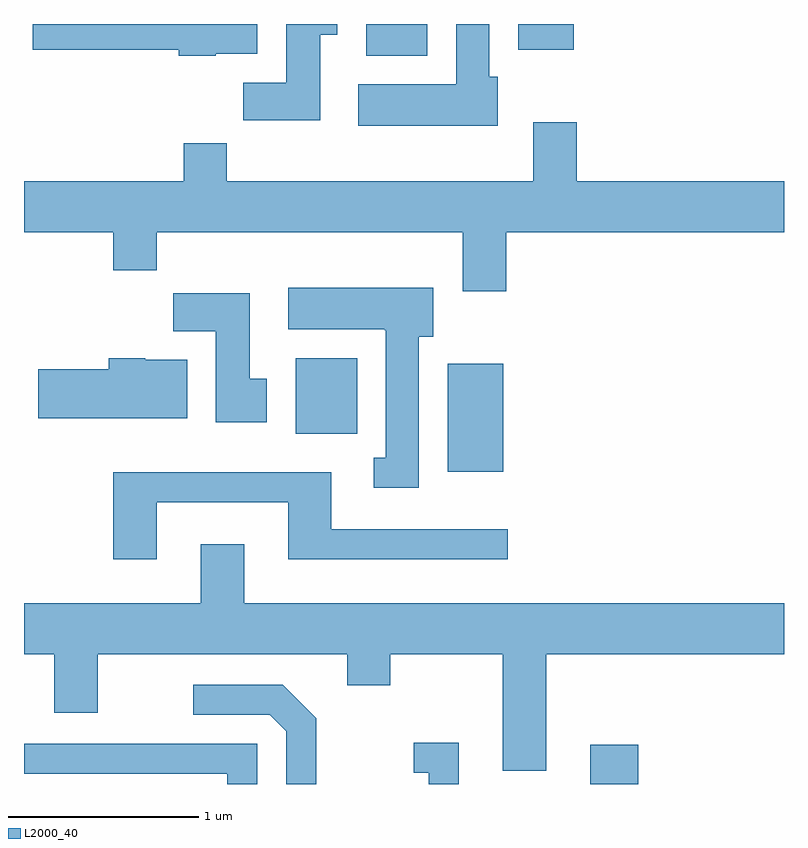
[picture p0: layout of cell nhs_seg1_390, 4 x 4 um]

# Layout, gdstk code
import gdstk
lib = gdstk.Library(unit=1e-6, precision=1e-09)
def R(c, l, rs):  # rectangles x0, y0, x1, y1
    for r in rs: c.add(gdstk.rectangle(r[:2], r[2:], *l))
def P(c, l, *ps):  # polygons
    for p in ps: c.add(gdstk.Polygon(p, *l))
L2000_40 = (2000, 40)

nhs_seg1_390 = lib.new_cell('nhs_seg1_390')
R(nhs_seg1_390, L2000_40, [(198.591,967.712,198.844,967.919), (197.841,969.356,198.134,969.924), (197.041,969.556,197.364,969.954), (197.411,971.546,197.734,971.712), (198.211,971.576,198.504,971.712)])
P(nhs_seg1_390, L2000_40, [(198.104,971.434),(198.059,971.434),(198.059,971.712),(197.886,971.712),(197.886,971.394),(197.371,971.394),(197.371,971.176),(198.104,971.176)],
  [(196.62,971.556),(196.839,971.556),(196.839,971.712),(195.656,971.712),(195.656,971.576),(196.426,971.576),(196.426,971.546),(196.62,971.546)],
  [(197.169,971.656),(197.259,971.656),(197.259,971.712),(196.991,971.712),(196.991,971.404),(196.766,971.404),(196.766,971.206),(197.169,971.206)],
  [(198.149,970.616),(199.611,970.616),(199.611,970.884),(198.519,970.884),(198.519,971.194),(198.291,971.194),(198.291,970.884),(196.679,970.884),(196.679,971.084),(196.451,971.084),(196.451,970.884),(195.611,970.884),(195.611,970.616),(196.081,970.616),(196.081,970.416),(196.309,970.416),(196.309,970.616),(197.921,970.616),(197.921,970.306),(198.149,970.306)],
  [(197.689,970.066),(197.764,970.066),(197.764,970.324),(197.001,970.324),(197.001,970.106),(197.51,970.106),(197.51,970.1),(197.516,970.1),(197.516,969.429),(197.453,969.429),(197.453,969.271),(197.689,969.271)],
  [(196.889,969.844),(196.799,969.844),(196.799,970.294),(196.396,970.294),(196.396,970.096),(196.621,970.096),(196.621,969.616),(196.889,969.616)],
  [(196.469,969.944),(196.25,969.944),(196.25,969.954),(196.056,969.954),(196.056,969.894),(195.686,969.894),(195.686,969.636),(196.469,969.636)],
  [(196.309,969.196),(197.001,969.196),(197.001,968.896),(198.158,968.896),(198.158,969.054),(197.229,969.054),(197.229,969.354),(196.081,969.354),(196.081,968.896),(196.309,968.896)],
  [(198.359,968.396),(199.611,968.396),(199.611,968.664),(196.769,968.664),(196.769,968.974),(196.541,968.974),(196.541,968.664),(195.611,968.664),(195.611,968.396),(195.771,968.396),(195.771,968.086),(195.999,968.086),(195.999,968.396),(197.311,968.396),(197.311,968.231),(197.539,968.231),(197.539,968.396),(198.131,968.396),(198.131,967.781),(198.359,967.781)],
  [(197.149,968.057),(196.972,968.234),(196.503,968.234),(196.503,968.076),(196.904,968.076),(196.991,967.989),(196.991,967.712),(197.149,967.712)],
  [(197.899,967.929),(197.663,967.929),(197.663,967.771),(197.741,967.771),(197.741,967.712),(197.899,967.712)],
  [(196.839,967.924),(195.611,967.924),(195.611,967.766),(196.681,967.766),(196.681,967.712),(196.839,967.712)])

lib.write_gds('nhs_seg1_390.gds')
